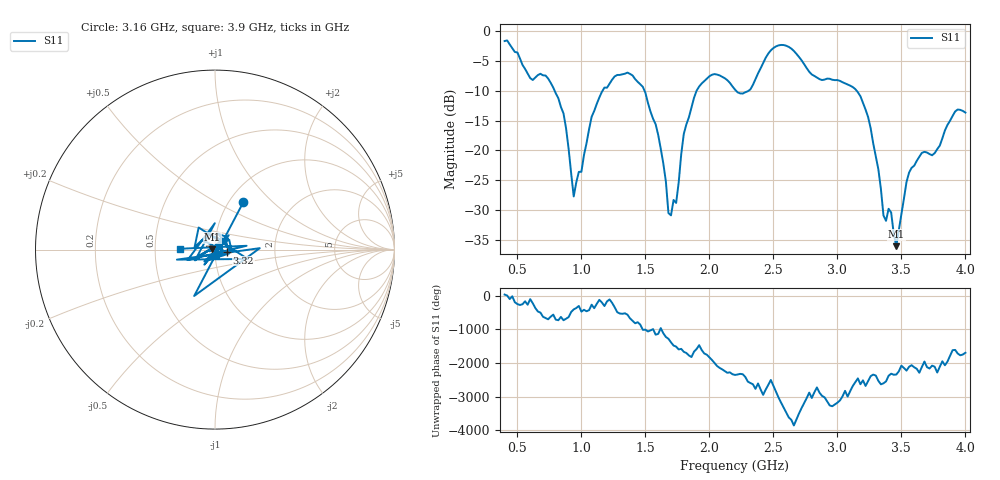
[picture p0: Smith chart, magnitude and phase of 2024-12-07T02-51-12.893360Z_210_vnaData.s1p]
!Created with skrf (http://scikit-rf.org).
# Hz S RI R 50.0
!freq ReS11 ImS11
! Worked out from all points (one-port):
!   181 points, 400 MHz to 4 GHz, reference 50 ohm
!   lowest |S11| = -36.0 dB at 3.46 GHz (marker M1), VSWR 1.03, Z = 48.4 + j0.158 ohm
!   |S11| at or under -10 dB: 790.2 MHz to 1.166 GHz (376 MHz wide, 38.4 % of centre); 1.492 GHz to 1.901 GHz (408.4 MHz wide, 24.1 % of centre); 3.149 GHz to end of sweep (the widest 3 of 4)
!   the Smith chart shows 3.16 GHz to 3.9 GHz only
!   S11 on the Smith chart (normalised r, x): 3.16 GHz: 1.16, +0.67; 3.32 GHz: 1.15, -0.04; 3.9 GHz: 0.67, +0.01
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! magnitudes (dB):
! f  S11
! 400 MHz  -1.7
! 600 MHz  -7.9
! 740 MHz  -8.0
! 860 MHz  -13.8
! 940 MHz  -27.7
! 1.08 GHz  -14.4
! 1.3 GHz  -7.4
! 1.5 GHz  -10.4
! 1.6 GHz  -17.4
! 1.68 GHz  -30.4
! 1.76 GHz  -25.3
! 1.8 GHz  -17.2
! 1.9 GHz  -10.0
! 2.04 GHz  -7.3
! 2.2 GHz  -9.8
! 2.32 GHz  -9.8
! 2.5 GHz  -2.9
! 2.66 GHz  -3.4
! 3.1 GHz  -9.2
! 3.16 GHz  -10.3
! 3.32 GHz  -23.1
! 3.36 GHz  -30.8
! 3.42 GHz  -30.3
! 3.46 GHz  -36.0
! 3.56 GHz  -23.7
! 3.76 GHz  -20.4
! 3.9 GHz  -14.2
! 4 GHz  -13.7
